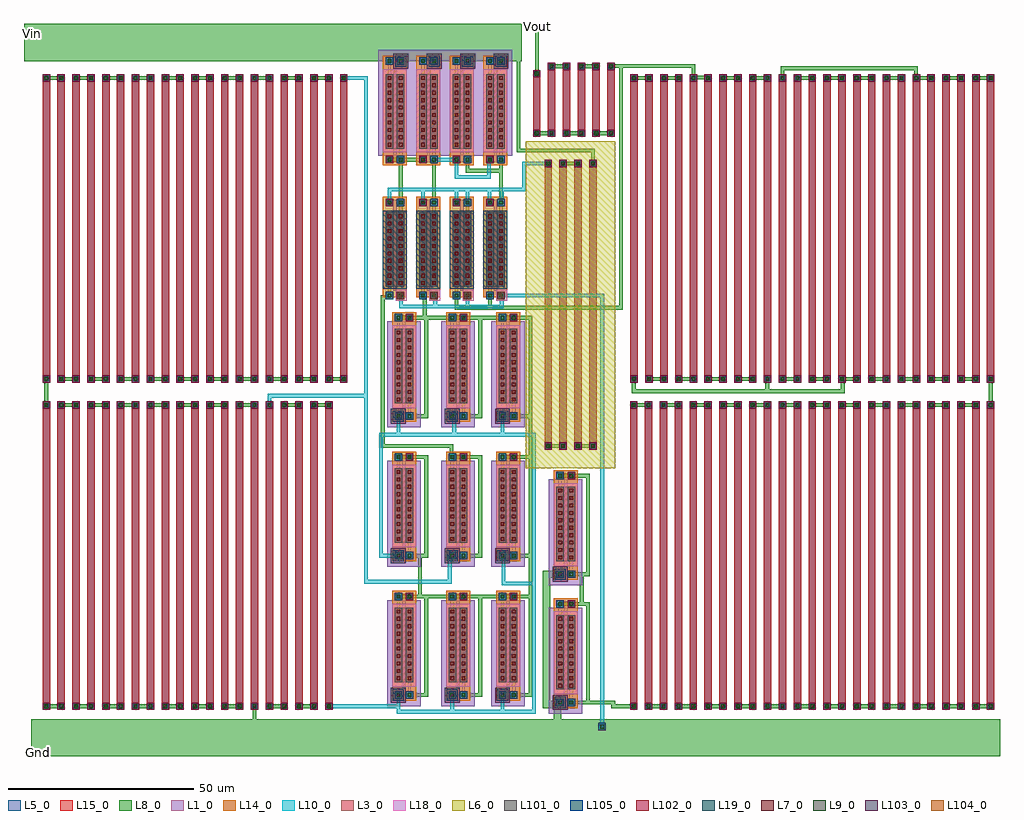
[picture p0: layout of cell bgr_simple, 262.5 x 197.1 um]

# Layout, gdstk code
from math import pi, radians
import gdstk
lib = gdstk.Library(unit=1e-6, precision=1e-09)
def R(c, l, rs):  # rectangles x0, y0, x1, y1
    for r in rs: c.add(gdstk.rectangle(r[:2], r[2:], *l))
def A(c, l, x, y, w, h, nx, ny, dx, dy):  # array of equal rectangles
    R(c, l, [(x+i*dx, y+j*dy, x+i*dx+w, y+j*dy+h) for i in range(nx) for j in range(ny)])
L1_0 = (1, 0)
L3_0 = (3, 0)
L5_0 = (5, 0)
L6_0 = (6, 0)
L7_0 = (7, 0)
L8_0 = (8, 0)
L9_0 = (9, 0)
L10_0 = (10, 0)
L14_0 = (14, 0)
L15_0 = (15, 0)
L18_0 = (18, 0)
L19_0 = (19, 0)
L101_0 = (101, 0)
L102_0 = (102, 0)
L103_0 = (103, 0)
L104_0 = (104, 0)
L105_0 = (105, 0)

dcont = lib.new_cell('dcont')
R(dcont, L3_0, [(-0.5,-0.5,0.5,0.5)])
R(dcont, L7_0, [(-0.5,-0.5,0.5,0.5)])
R(dcont, L8_0, [(-1,-1,1,1)])
R(dcont, L101_0, [(-1,-1,1,1)])
dcont.add(gdstk.Label('dcont', (0,0), layer=13, texttype=0))

via = lib.new_cell('Via')
R(via, L8_0, [(-1,-1,1,1)])
R(via, L9_0, [(-0.5,-0.5,0.5,0.5)])
R(via, L10_0, [(-1,-1,1,1)])
R(via, L105_0, [(-1,-1,1,1)])
via.add(gdstk.Label('via', (0,0), layer=13, texttype=0))

nsubcont = lib.new_cell('nsubcont')
R(nsubcont, L1_0, [(-2,-2,2,2)])
R(nsubcont, L19_0, [(-1.5,-1.5,1.5,1.5)])
R(nsubcont, L103_0, [(-2,-2,2,2)])
nsubcont.add(gdstk.Reference(dcont, (0,0)))
nsubcont.add(gdstk.Label('NScont', (0,0), layer=13, texttype=0))

pcont = lib.new_cell('pcont')
R(pcont, L5_0, [(-1,-1,1,1)])
R(pcont, L7_0, [(-0.5,-0.5,0.5,0.5)])
R(pcont, L8_0, [(-1,-1,1,1)])
R(pcont, L102_0, [(-1,-1,1,1)])
pcont.add(gdstk.Label('pcont', (0,0), layer=13, texttype=0))

pch1x20 = lib.new_cell('pch1x20')
R(pch1x20, L1_0, [(-1.2,3,7.8,31.5)])
R(pch1x20, L3_0, [(0.8,5,5.8,25)])
R(pch1x20, L5_0, [(1.3,1.3,3.8,2.7)])
R(pch1x20, L8_0, [(0.8,1,2.8,3), (3.8,1,5.8,3)])
R(pch1x20, L10_0, [(0.8,1,2.8,3), (3.8,1,5.8,3)])
R(pch1x20, L14_0, [(0,0.5,6.5,30)])
R(pch1x20, L18_0, [(0,4,6.5,26.3)])
R(pch1x20, L105_0, [(0.8,1,2.8,3), (3.8,1,5.8,3)])
pch1x20.add(gdstk.FlexPath([(1.8,29),(1.8,23.8)], 1, ends="extended", simple_path=True, layer=8, datatype=0))  # L8_0
pch1x20.add(gdstk.FlexPath([(1.8,5.8),(1.8,24)], 1.4, ends="extended", simple_path=True, layer=8, datatype=0))  # L8_0
pch1x20.add(gdstk.FlexPath([(4.8,5.8),(4.8,24)], 1.4, ends="extended", simple_path=True, layer=8, datatype=0))  # L8_0
pch1x20.add(gdstk.FlexPath([(4.8,5.5),(4.8,2.3)], 1, ends="extended", simple_path=True, layer=8, datatype=0))  # L8_0
pch1x20.add(gdstk.FlexPath([(3.3,26),(3.3,2.8)], 1, ends="extended", simple_path=True, layer=5, datatype=0))  # L5_0
pch1x20.add(gdstk.Reference(dcont, (1.8,6)))
pch1x20.add(gdstk.Reference(dcont, (1.8,8)))
pch1x20.add(gdstk.Reference(dcont, (4.8,12)))
pch1x20.add(gdstk.Reference(dcont, (4.8,10)))
pch1x20.add(gdstk.Reference(dcont, (1.8,14)))
pch1x20.add(gdstk.Reference(dcont, (1.8,16)))
pch1x20.add(gdstk.Reference(dcont, (4.8,20)))
pch1x20.add(gdstk.Reference(dcont, (4.8,18)))
pch1x20.add(gdstk.Reference(via, (1.8,28.5)))
pch1x20.add(gdstk.Reference(dcont, (4.8,22)))
pch1x20.add(gdstk.Reference(via, (4.8,2)))
pch1x20.add(gdstk.Reference(dcont, (1.8,24)))
pch1x20.add(gdstk.Reference(dcont, (4.8,24)))
pch1x20.add(gdstk.Reference(dcont, (1.8,22)))
pch1x20.add(gdstk.Reference(via, (1.8,2)))
pch1x20.add(gdstk.Reference(nsubcont, (4.8,28.5)))
pch1x20.add(gdstk.Reference(pcont, (1.8,2)))
pch1x20.add(gdstk.Reference(dcont, (1.8,20)))
pch1x20.add(gdstk.Reference(dcont, (1.8,18)))
pch1x20.add(gdstk.Reference(dcont, (4.8,14)))
pch1x20.add(gdstk.Reference(dcont, (4.8,16)))
pch1x20.add(gdstk.Reference(dcont, (1.8,12)))
pch1x20.add(gdstk.Reference(dcont, (1.8,10)))
pch1x20.add(gdstk.Reference(dcont, (4.8,6)))
pch1x20.add(gdstk.Reference(dcont, (4.8,8)))
pch1x20.add(gdstk.Reference(via, (4.8,28.5)))
pch1x20.add(gdstk.Label('A', (8.5,7.4), layer=13, texttype=0))
pch1x20.add(gdstk.Label('VDD', (0.3,27.5), layer=13, texttype=0))
pch1x20.add(gdstk.Label('YB', (4.4,11.7), layer=13, texttype=0))
pch1x20.add(gdstk.Label('via', (5,1.8), layer=13, texttype=0))
pch1x20.add(gdstk.Label('via', (2,2), layer=13, texttype=0))

psubcont = lib.new_cell('psubcont')
R(psubcont, L104_0, [(-1,-1,1,1)])
psubcont.add(gdstk.Reference(dcont, (0,0)))
psubcont.add(gdstk.Label('PScon', (0,0), layer=13, texttype=0))

nch1x20 = lib.new_cell('nch1x20')
R(nch1x20, L3_0, [(0.8,2.8,5.8,22.8)])
R(nch1x20, L5_0, [(1.3,24.8,3.8,26.2)])
R(nch1x20, L14_0, [(0,0,6.5,27)])
R(nch1x20, L18_0, [(3.5,-1,6.5,2)])
R(nch1x20, L19_0, [(0,2.3,6.5,23.3)])
nch1x20.add(gdstk.FlexPath([(1.8,0.5),(1.8,22.3)], 1, ends="extended", simple_path=True, layer=8, datatype=0))  # L8_0
nch1x20.add(gdstk.FlexPath([(4.8,25),(4.8,3.3)], 1, ends="extended", simple_path=True, layer=8, datatype=0))  # L8_0
nch1x20.add(gdstk.FlexPath([(3.3,25),(3.3,2.3)], 1, ends="extended", simple_path=True, layer=5, datatype=0))  # L5_0
nch1x20.add(gdstk.Reference(dcont, (4.8,21.8)))
nch1x20.add(gdstk.Reference(dcont, (1.8,19.8)))
nch1x20.add(gdstk.Reference(dcont, (4.8,17.8)))
nch1x20.add(gdstk.Reference(dcont, (1.8,15.8)))
nch1x20.add(gdstk.Reference(dcont, (4.8,13.8)))
nch1x20.add(gdstk.Reference(dcont, (1.8,11.8)))
nch1x20.add(gdstk.Reference(dcont, (4.8,9.8)))
nch1x20.add(gdstk.Reference(dcont, (1.8,7.8)))
nch1x20.add(gdstk.Reference(dcont, (4.8,5.8)))
nch1x20.add(gdstk.Reference(via, (1.8,25.5)))
nch1x20.add(gdstk.Reference(dcont, (4.8,3.8)))
nch1x20.add(gdstk.Reference(dcont, (1.8,3.8)))
nch1x20.add(gdstk.Reference(dcont, (1.8,5.8)))
nch1x20.add(gdstk.Reference(dcont, (4.8,7.8)))
nch1x20.add(gdstk.Reference(dcont, (1.8,9.8)))
nch1x20.add(gdstk.Reference(dcont, (4.8,11.8)))
nch1x20.add(gdstk.Reference(dcont, (1.8,13.8)))
nch1x20.add(gdstk.Reference(dcont, (4.8,15.8)))
nch1x20.add(gdstk.Reference(dcont, (1.8,17.8)))
nch1x20.add(gdstk.Reference(dcont, (4.8,19.8)))
nch1x20.add(gdstk.Reference(dcont, (1.8,21.8)))
nch1x20.add(gdstk.Reference(via, (1.8,0.5)))
nch1x20.add(gdstk.Reference(via, (4.8,25.5)))
nch1x20.add(gdstk.Reference(pcont, (1.8,25.5)))
nch1x20.add(gdstk.Reference(via, (4.8,0.5)))
nch1x20.add(gdstk.Reference(psubcont, (4.8,0.5)))
nch1x20.add(gdstk.Label('via', (5,25.3), layer=13, texttype=0))
nch1x20.add(gdstk.Label('A', (2,26.4), layer=13, texttype=0))
nch1x20.add(gdstk.Label('VSS', (0.3,0.5), layer=13, texttype=0))
nch1x20.add(gdstk.Label('via', (2,25.5), layer=13, texttype=0))

pchdiode = lib.new_cell('pchdiode')
pchdiode.add(gdstk.FlexPath([(3.4,29.5),(-0.7,29.5),(-0.7,3),(6.3,3)], 1, ends="extended", simple_path=True, layer=8, datatype=0))  # L8_0
pchdiode.add(gdstk.Reference(pch1x20, (2,1)))

diodeblock = lib.new_cell('diodeblock')
diodeblock.add(gdstk.FlexPath([(32.5,7),(-3.2,7),(-3.2,-68),(26.5,-68)], 1, ends="flush", simple_path=True, layer=8, datatype=0))  # L8_0
diodeblock.add(gdstk.FlexPath([(26.5,7.5),(26.5,-4),(26.5,-4)], 1, ends="flush", simple_path=True, layer=8, datatype=0))  # L8_0
diodeblock.add(gdstk.FlexPath([(32.3,-36.5),(37,-36.5),(37,-4),(32,-4)], 1, ends="flush", simple_path=True, layer=10, datatype=0))  # L10_0
diodeblock.add(gdstk.FlexPath([(4,3.5),(4,-4)], 1, ends="flush", simple_path=True, layer=10, datatype=0))  # L10_0
diodeblock.add(gdstk.FlexPath([(4.3,33.3),(4.3,38),(17.8,38),(17.8,33.5)], 1, ends="flush", simple_path=True, layer=10, datatype=0))  # L10_0
diodeblock.add(gdstk.FlexPath([(18.3,38),(32.3,38),(32.3,33.4)], 1, ends="flush", simple_path=True, layer=10, datatype=0))  # L10_0
diodeblock.add(gdstk.FlexPath([(32.8,38),(-4.2,38),(-4.2,3.5),(4.5,3.5)], 1, ends="flush", simple_path=True, layer=10, datatype=0))  # L10_0
diodeblock.add(gdstk.FlexPath([(-4.2,4),(-4.2,-36.5),(31.8,-36.5)], 1, ends="flush", simple_path=True, layer=10, datatype=0))  # L10_0
diodeblock.add(gdstk.FlexPath([(4.3,-41.5),(4.3,-36.5),(17.3,-36.5),(17.3,-41.5)], 1, ends="flush", simple_path=True, layer=10, datatype=0))  # L10_0
diodeblock.add(gdstk.FlexPath([(17.8,-36.5),(32.3,-36.5),(32.3,-41.6)], 1, ends="flush", simple_path=True, layer=10, datatype=0))  # L10_0
diodeblock.add(gdstk.Reference(pchdiode, (-2.5,4)))
diodeblock.add(gdstk.Reference(pchdiode, (11,4)))
diodeblock.add(gdstk.Reference(pchdiode, (25.5,4)))
diodeblock.add(gdstk.Reference(pchdiode, (-2.5,-33.5)))
diodeblock.add(gdstk.Reference(pchdiode, (11,-33.5)))
diodeblock.add(gdstk.Reference(pchdiode, (25.5,-33.5)))
diodeblock.add(gdstk.Reference(pchdiode, (-2.5,-71)))
diodeblock.add(gdstk.Reference(pchdiode, (11,-71)))
diodeblock.add(gdstk.Reference(pchdiode, (25.5,-71)))

via_4 = lib.new_cell('Via$4')
R(via_4, L8_0, [(-1,-1,1,1)])
R(via_4, L9_0, [(-0.5,-0.5,0.5,0.5)])
R(via_4, L10_0, [(-1,-1,1,1)])
R(via_4, L105_0, [(-1,-1,1,1)])
via_4.add(gdstk.Label('via', (0,0), layer=13, texttype=0))

pcont_4 = lib.new_cell('pcont$4')
R(pcont_4, L5_0, [(-1,-1,1,1)])
R(pcont_4, L7_0, [(-0.5,-0.5,0.5,0.5)])
R(pcont_4, L8_0, [(-1,-1,1,1)])
R(pcont_4, L102_0, [(-1,-1,1,1)])
pcont_4.add(gdstk.Label('pcont', (0,0), layer=13, texttype=0))

r_poly_5 = lib.new_cell('R_poly$5')
A(r_poly_5, L8_0, 0, 0, 2, 2, 5, 2, 4, 81)
A(r_poly_5, L10_0, 0, 0, 2, 2, 5, 2, 4, 81)
r_poly_5.add(gdstk.FlexPath([(5,82),(1,82)], 1, ends="extended", simple_path=True, layer=8, datatype=0))  # L8_0
r_poly_5.add(gdstk.FlexPath([(9,1),(5,1)], 1, ends="extended", simple_path=True, layer=8, datatype=0))  # L8_0
r_poly_5.add(gdstk.FlexPath([(13,82),(9,82)], 1, ends="extended", simple_path=True, layer=8, datatype=0))  # L8_0
r_poly_5.add(gdstk.FlexPath([(17,1),(13,1)], 1, ends="extended", simple_path=True, layer=8, datatype=0))  # L8_0
r_poly_5.add(gdstk.FlexPath([(1,2),(1,81)], 2, ends=(2, 2), simple_path=True, layer=5, datatype=0))  # L5_0
r_poly_5.add(gdstk.FlexPath([(5,2),(5,81)], 2, ends=(2, 2), simple_path=True, layer=5, datatype=0))  # L5_0
r_poly_5.add(gdstk.FlexPath([(9,2),(9,81)], 2, ends=(2, 2), simple_path=True, layer=5, datatype=0))  # L5_0
r_poly_5.add(gdstk.FlexPath([(13,2),(13,81)], 2, ends=(2, 2), simple_path=True, layer=5, datatype=0))  # L5_0
r_poly_5.add(gdstk.FlexPath([(17,2),(17,81)], 2, ends=(2, 2), simple_path=True, layer=5, datatype=0))  # L5_0
r_poly_5.add(gdstk.FlexPath([(1,2),(1,81)], 2, ends=(0.5, 0.5), simple_path=True, layer=15, datatype=0))  # L15_0
r_poly_5.add(gdstk.FlexPath([(5,2),(5,81)], 2, ends=(0.5, 0.5), simple_path=True, layer=15, datatype=0))  # L15_0
r_poly_5.add(gdstk.FlexPath([(9,2),(9,81)], 2, ends=(0.5, 0.5), simple_path=True, layer=15, datatype=0))  # L15_0
r_poly_5.add(gdstk.FlexPath([(13,2),(13,81)], 2, ends=(0.5, 0.5), simple_path=True, layer=15, datatype=0))  # L15_0
r_poly_5.add(gdstk.FlexPath([(17,2),(17,81)], 2, ends=(0.5, 0.5), simple_path=True, layer=15, datatype=0))  # L15_0
r_poly_5.add(gdstk.Reference(via_4, (1,1)))
r_poly_5.add(gdstk.Reference(pcont_4, (1,1)))
r_poly_5.add(gdstk.Reference(via_4, (1,82)))
r_poly_5.add(gdstk.Reference(pcont_4, (1,82)))
r_poly_5.add(gdstk.Reference(via_4, (5,1)))
r_poly_5.add(gdstk.Reference(pcont_4, (5,1)))
r_poly_5.add(gdstk.Reference(via_4, (5,82)))
r_poly_5.add(gdstk.Reference(pcont_4, (5,82)))
r_poly_5.add(gdstk.Reference(via_4, (9,1)))
r_poly_5.add(gdstk.Reference(pcont_4, (9,1)))
r_poly_5.add(gdstk.Reference(via_4, (9,82)))
r_poly_5.add(gdstk.Reference(pcont_4, (9,82)))
r_poly_5.add(gdstk.Reference(via_4, (13,1)))
r_poly_5.add(gdstk.Reference(pcont_4, (13,1)))
r_poly_5.add(gdstk.Reference(via_4, (13,82)))
r_poly_5.add(gdstk.Reference(pcont_4, (13,82)))
r_poly_5.add(gdstk.Reference(via_4, (17,1)))
r_poly_5.add(gdstk.Reference(pcont_4, (17,1)))
r_poly_5.add(gdstk.Reference(via_4, (17,82)))
r_poly_5.add(gdstk.Reference(pcont_4, (17,82)))

r_poly = lib.new_cell('R_poly')
R(r_poly, L8_0, [(0,0,2,2), (0,81,2,83)])
R(r_poly, L10_0, [(0,0,2,2), (0,81,2,83)])
r_poly.add(gdstk.FlexPath([(1,2),(1,81)], 2, ends=(2, 2), simple_path=True, layer=5, datatype=0))  # L5_0
r_poly.add(gdstk.FlexPath([(1,2),(1,81)], 2, ends=(0.5, 0.5), simple_path=True, layer=15, datatype=0))  # L15_0
r_poly.add(gdstk.Reference(via_4, (1,1)))
r_poly.add(gdstk.Reference(pcont_4, (1,1)))
r_poly.add(gdstk.Reference(via_4, (1,82)))
r_poly.add(gdstk.Reference(pcont_4, (1,82)))

hr_poly = lib.new_cell('HR_poly')
R(hr_poly, L6_0, [(-5,-5,19,83)])
A(hr_poly, L8_0, 0, 0, 2, 2, 4, 2, 4, 76)
A(hr_poly, L10_0, 0, 0, 2, 2, 4, 2, 4, 76)
hr_poly.add(gdstk.FlexPath([(5,77),(1,77)], 1, ends="extended", simple_path=True, layer=8, datatype=0))  # L8_0
hr_poly.add(gdstk.FlexPath([(9,1),(5,1)], 1, ends="extended", simple_path=True, layer=8, datatype=0))  # L8_0
hr_poly.add(gdstk.FlexPath([(13,77),(9,77)], 1, ends="extended", simple_path=True, layer=8, datatype=0))  # L8_0
hr_poly.add(gdstk.FlexPath([(1,2),(1,76)], 2, ends=(2, 2), simple_path=True, layer=5, datatype=0))  # L5_0
hr_poly.add(gdstk.FlexPath([(5,2),(5,76)], 2, ends=(2, 2), simple_path=True, layer=5, datatype=0))  # L5_0
hr_poly.add(gdstk.FlexPath([(9,2),(9,76)], 2, ends=(2, 2), simple_path=True, layer=5, datatype=0))  # L5_0
hr_poly.add(gdstk.FlexPath([(13,2),(13,76)], 2, ends=(2, 2), simple_path=True, layer=5, datatype=0))  # L5_0
hr_poly.add(gdstk.FlexPath([(1,2),(1,76)], 2, ends=(0.5, 0.5), simple_path=True, layer=15, datatype=0))  # L15_0
hr_poly.add(gdstk.FlexPath([(5,2),(5,76)], 2, ends=(0.5, 0.5), simple_path=True, layer=15, datatype=0))  # L15_0
hr_poly.add(gdstk.FlexPath([(9,2),(9,76)], 2, ends=(0.5, 0.5), simple_path=True, layer=15, datatype=0))  # L15_0
hr_poly.add(gdstk.FlexPath([(13,2),(13,76)], 2, ends=(0.5, 0.5), simple_path=True, layer=15, datatype=0))  # L15_0
hr_poly.add(gdstk.Reference(via_4, (1,1)))
hr_poly.add(gdstk.Reference(pcont_4, (1,1)))
hr_poly.add(gdstk.Reference(via_4, (1,77)))
hr_poly.add(gdstk.Reference(pcont_4, (1,77)))
hr_poly.add(gdstk.Reference(via_4, (5,1)))
hr_poly.add(gdstk.Reference(pcont_4, (5,1)))
hr_poly.add(gdstk.Reference(via_4, (5,77)))
hr_poly.add(gdstk.Reference(pcont_4, (5,77)))
hr_poly.add(gdstk.Reference(via_4, (9,1)))
hr_poly.add(gdstk.Reference(pcont_4, (9,1)))
hr_poly.add(gdstk.Reference(via_4, (9,77)))
hr_poly.add(gdstk.Reference(pcont_4, (9,77)))
hr_poly.add(gdstk.Reference(via_4, (13,1)))
hr_poly.add(gdstk.Reference(pcont_4, (13,1)))
hr_poly.add(gdstk.Reference(via_4, (13,77)))
hr_poly.add(gdstk.Reference(pcont_4, (13,77)))

r_poly_1 = lib.new_cell('R_poly$1')
A(r_poly_1, L8_0, 0, 0, 2, 2, 5, 1, 4, 0)
A(r_poly_1, L8_0, 0, 18, 2, 2, 6, 1, 4, 0)
R(r_poly_1, L8_0, [(20,2,22,4)])
A(r_poly_1, L10_0, 0, 0, 2, 2, 5, 1, 4, 0)
A(r_poly_1, L10_0, 0, 18, 2, 2, 6, 1, 4, 0)
R(r_poly_1, L10_0, [(20,2,22,4)])
r_poly_1.add(gdstk.FlexPath([(5,19),(1,19)], 1, ends="extended", simple_path=True, layer=8, datatype=0))  # L8_0
r_poly_1.add(gdstk.FlexPath([(9,1),(5,1)], 1, ends="extended", simple_path=True, layer=8, datatype=0))  # L8_0
r_poly_1.add(gdstk.FlexPath([(13,19),(9,19)], 1, ends="extended", simple_path=True, layer=8, datatype=0))  # L8_0
r_poly_1.add(gdstk.FlexPath([(17,1),(13,1)], 1, ends="extended", simple_path=True, layer=8, datatype=0))  # L8_0
r_poly_1.add(gdstk.FlexPath([(21,19),(17,19)], 1, ends="extended", simple_path=True, layer=8, datatype=0))  # L8_0
r_poly_1.add(gdstk.FlexPath([(1,2),(1,18)], 2, ends=(2, 2), simple_path=True, layer=5, datatype=0))  # L5_0
r_poly_1.add(gdstk.FlexPath([(5,2),(5,18)], 2, ends=(2, 2), simple_path=True, layer=5, datatype=0))  # L5_0
r_poly_1.add(gdstk.FlexPath([(9,2),(9,18)], 2, ends=(2, 2), simple_path=True, layer=5, datatype=0))  # L5_0
r_poly_1.add(gdstk.FlexPath([(13,2),(13,18)], 2, ends=(2, 2), simple_path=True, layer=5, datatype=0))  # L5_0
r_poly_1.add(gdstk.FlexPath([(17,2),(17,18)], 2, ends=(2, 2), simple_path=True, layer=5, datatype=0))  # L5_0
r_poly_1.add(gdstk.FlexPath([(21,4),(21,18)], 2, ends=(2, 2), simple_path=True, layer=5, datatype=0))  # L5_0
r_poly_1.add(gdstk.FlexPath([(1,2),(1,18)], 2, ends=(0.5, 0.5), simple_path=True, layer=15, datatype=0))  # L15_0
r_poly_1.add(gdstk.FlexPath([(5,2),(5,18)], 2, ends=(0.5, 0.5), simple_path=True, layer=15, datatype=0))  # L15_0
r_poly_1.add(gdstk.FlexPath([(9,2),(9,18)], 2, ends=(0.5, 0.5), simple_path=True, layer=15, datatype=0))  # L15_0
r_poly_1.add(gdstk.FlexPath([(13,2),(13,18)], 2, ends=(0.5, 0.5), simple_path=True, layer=15, datatype=0))  # L15_0
r_poly_1.add(gdstk.FlexPath([(17,2),(17,18)], 2, ends=(0.5, 0.5), simple_path=True, layer=15, datatype=0))  # L15_0
r_poly_1.add(gdstk.FlexPath([(21,4),(21,18)], 2, ends=(0.5, 0.5), simple_path=True, layer=15, datatype=0))  # L15_0
r_poly_1.add(gdstk.Reference(via_4, (1,1)))
r_poly_1.add(gdstk.Reference(pcont_4, (1,1)))
r_poly_1.add(gdstk.Reference(via_4, (1,19)))
r_poly_1.add(gdstk.Reference(pcont_4, (1,19)))
r_poly_1.add(gdstk.Reference(via_4, (5,1)))
r_poly_1.add(gdstk.Reference(pcont_4, (5,1)))
r_poly_1.add(gdstk.Reference(via_4, (5,19)))
r_poly_1.add(gdstk.Reference(pcont_4, (5,19)))
r_poly_1.add(gdstk.Reference(via_4, (9,1)))
r_poly_1.add(gdstk.Reference(pcont_4, (9,1)))
r_poly_1.add(gdstk.Reference(via_4, (9,19)))
r_poly_1.add(gdstk.Reference(pcont_4, (9,19)))
r_poly_1.add(gdstk.Reference(via_4, (13,1)))
r_poly_1.add(gdstk.Reference(pcont_4, (13,1)))
r_poly_1.add(gdstk.Reference(via_4, (13,19)))
r_poly_1.add(gdstk.Reference(pcont_4, (13,19)))
r_poly_1.add(gdstk.Reference(via_4, (17,1)))
r_poly_1.add(gdstk.Reference(pcont_4, (17,1)))
r_poly_1.add(gdstk.Reference(via_4, (17,19)))
r_poly_1.add(gdstk.Reference(pcont_4, (17,19)))
r_poly_1.add(gdstk.Reference(via_4, (21,3)))
r_poly_1.add(gdstk.Reference(pcont_4, (21,3)))
r_poly_1.add(gdstk.Reference(via_4, (21,19)))
r_poly_1.add(gdstk.Reference(pcont_4, (21,19)))

bgr_simple = lib.new_cell('bgr_simple')
bgr_simple.add(gdstk.FlexPath([(7.8,-41),(7.8,-52.5),(7.8,-52.5)], 1, ends="flush", simple_path=True, layer=8, datatype=0))  # L8_0
bgr_simple.add(gdstk.FlexPath([(16.8,-41),(16.8,-52.5),(16.8,-52.5)], 1, ends="flush", simple_path=True, layer=8, datatype=0))  # L8_0
bgr_simple.add(gdstk.FlexPath([(34.8,-44.5),(34.8,-52.5),(34.8,-52.5)], 1, ends="flush", simple_path=True, layer=8, datatype=0))  # L8_0
bgr_simple.add(gdstk.FlexPath([(25.8,-41),(25.8,-44),(34.8,-44),(34.8,-41),(34.8,-41)], 1, ends="flush", simple_path=True, layer=8, datatype=0))  # L8_0
bgr_simple.add(gdstk.FlexPath([(22.8,-77.3),(22.8,-80.8),(31.8,-80.8),(31.8,-77.6)], 1, ends="flush", simple_path=True, layer=8, datatype=0))  # L8_0
bgr_simple.add(gdstk.FlexPath([(50.7,-152.5),(47,-152.5),(47,-187.5),(50,-187.5),(50,-192.5)], 2, ends="flush", simple_path=True, layer=8, datatype=0))  # L8_0
bgr_simple.add(gdstk.FlexPath([(14.3,-78),(14.3,-83.5),(14.3,-83.5)], 1, ends="flush", simple_path=True, layer=8, datatype=0))  # L8_0
bgr_simple.add(gdstk.FlexPath([(-93.5,-9.5),(40.4,-9.5)], 10, ends="flush", simple_path=True, layer=8, datatype=0))  # L8_0
bgr_simple.add(gdstk.FlexPath([(86.6,-19.1),(86.6,-15.8),(64.4,-15.8),(64.4,-15.9)], 1, ends="flush", simple_path=True, layer=8, datatype=0))  # L8_0
bgr_simple.add(gdstk.FlexPath([(44.5,-17.8),(44.5,-4.4)], 1, ends="flush", simple_path=True, layer=8, datatype=0))  # L8_0
bgr_simple.add(gdstk.FlexPath([(31.9,-80.8),(67.1,-80.8),(67.1,-15.5)], 1, ends="flush", simple_path=True, layer=8, datatype=0))  # L8_0
bgr_simple.add(gdstk.FlexPath([(151,-19),(146,-19)], 1, ends="flush", simple_path=True, layer=8, datatype=0))  # L8_0
bgr_simple.add(gdstk.FlexPath([(130.5,-100),(126.5,-100)], 1, ends="flush", simple_path=True, layer=8, datatype=0))  # L8_0
bgr_simple.add(gdstk.FlexPath([(90.6,-18.9),(86.6,-18.9)], 1, ends="flush", simple_path=True, layer=8, datatype=0))  # L8_0
bgr_simple.add(gdstk.FlexPath([(70.5,-100.1),(70.5,-103.3),(106.4,-103.3),(106.4,-100)], 1, ends="flush", simple_path=True, layer=8, datatype=0))  # L8_0
bgr_simple.add(gdstk.FlexPath([(110.5,-18.8),(110.5,-16.4),(146.4,-16.4),(146.4,-19)], 1, ends="flush", simple_path=True, layer=8, datatype=0))  # L8_0
bgr_simple.add(gdstk.FlexPath([(106.2,-103.3),(126.7,-103.3),(126.7,-99.5)], 1, ends="flush", simple_path=True, layer=8, datatype=0))  # L8_0
bgr_simple.add(gdstk.FlexPath([(-71.5,-19),(-67.5,-19)], 1, ends="flush", simple_path=True, layer=8, datatype=0))  # L8_0
bgr_simple.add(gdstk.FlexPath([(59.5,-42),(59.5,-38.5),(39.5,-38.5),(39.5,-11),(39.5,-11)], 1, ends="flush", simple_path=True, layer=8, datatype=0))  # L8_0
bgr_simple.add(gdstk.FlexPath([(56,-187),(65,-187),(65,-188),(70.5,-188)], 1, ends="flush", simple_path=True, layer=8, datatype=0))  # L8_0
bgr_simple.add(gdstk.FlexPath([(86.5,-107),(91,-107)], 1, ends="flush", simple_path=True, layer=8, datatype=0))  # L8_0
bgr_simple.add(gdstk.FlexPath([(106.5,-188),(110.5,-188)], 1, ends="flush", simple_path=True, layer=8, datatype=0))  # L8_0
bgr_simple.add(gdstk.FlexPath([(126.5,-107),(130.5,-107)], 1, ends="flush", simple_path=True, layer=8, datatype=0))  # L8_0
bgr_simple.add(gdstk.FlexPath([(146.5,-188),(150.5,-188)], 1, ends="flush", simple_path=True, layer=8, datatype=0))  # L8_0
bgr_simple.add(gdstk.FlexPath([(166.5,-100),(166.5,-107)], 1, ends="flush", simple_path=True, layer=8, datatype=0))  # L8_0
bgr_simple.add(gdstk.FlexPath([(-91.5,-196.5),(169,-196.5)], 10, ends="flush", simple_path=True, layer=8, datatype=0))  # L8_0
bgr_simple.add(gdstk.FlexPath([(5,-41),(14,-41)], 1, ends="flush", simple_path=True, layer=8, datatype=0))  # L8_0
bgr_simple.add(gdstk.FlexPath([(4.5,-78),(3,-78),(3,-118),(21.5,-118),(21.5,-121),(21.5,-121)], 1, ends="flush", simple_path=True, layer=8, datatype=0))  # L8_0
bgr_simple.add(gdstk.FlexPath([(56.5,-152.5),(56.5,-160.5),(56.5,-160.5)], 1, ends="flush", simple_path=True, layer=8, datatype=0))  # L8_0
bgr_simple.add(gdstk.FlexPath([(-7.5,-100),(-11.5,-100),(-11.5,-100)], 1, ends="flush", simple_path=True, layer=8, datatype=0))  # L8_0
bgr_simple.add(gdstk.FlexPath([(-27.5,-19),(-31.5,-19),(-31.5,-19)], 1, ends="flush", simple_path=True, layer=8, datatype=0))  # L8_0
bgr_simple.add(gdstk.FlexPath([(-47.5,-100),(-51.5,-100)], 1, ends="flush", simple_path=True, layer=8, datatype=0))  # L8_0
bgr_simple.add(gdstk.FlexPath([(-87.5,-100),(-87.5,-107)], 1, ends="flush", simple_path=True, layer=8, datatype=0))  # L8_0
bgr_simple.add(gdstk.FlexPath([(-71.5,-188),(-67,-188)], 1, ends="flush", simple_path=True, layer=8, datatype=0))  # L8_0
bgr_simple.add(gdstk.FlexPath([(-51.5,-107),(-47,-107)], 1, ends="flush", simple_path=True, layer=8, datatype=0))  # L8_0
bgr_simple.add(gdstk.FlexPath([(-31.5,-188),(-31.5,-193)], 1, ends="flush", simple_path=True, layer=8, datatype=0))  # L8_0
bgr_simple.add(gdstk.FlexPath([(31.6,-41.1),(31.6,-45.7),(22.8,-45.7),(22.8,-41.2)], 1, ends="flush", simple_path=True, layer=10, datatype=0))  # L10_0
bgr_simple.add(gdstk.FlexPath([(4.8,-52.5),(4.8,-49),(13.8,-49),(13.8,-52.5)], 1, ends="flush", simple_path=True, layer=10, datatype=0))  # L10_0
bgr_simple.add(gdstk.FlexPath([(13.8,-49),(22.8,-49),(22.8,-52.5)], 1, ends="flush", simple_path=True, layer=10, datatype=0))  # L10_0
bgr_simple.add(gdstk.FlexPath([(25.8,-52.1),(25.8,-49.1),(25.8,-49)], 1, ends="flush", simple_path=True, layer=10, datatype=0))  # L10_0
bgr_simple.add(gdstk.FlexPath([(22.7,-49),(31.7,-49),(31.7,-52.5),(31.7,-52.5)], 1, ends="flush", simple_path=True, layer=10, datatype=0))  # L10_0
bgr_simple.add(gdstk.FlexPath([(17.1,-80.5),(25.8,-80.5),(25.8,-78)], 1, ends="flush", simple_path=True, layer=10, datatype=0))  # L10_0
bgr_simple.add(gdstk.FlexPath([(-11.5,-188),(7.2,-188)], 1, ends="flush", simple_path=True, layer=10, datatype=0))  # L10_0
bgr_simple.add(gdstk.FlexPath([(7.9,-77.8),(7.9,-80.5),(17.1,-80.5),(17.1,-78)], 1, ends="flush", simple_path=True, layer=10, datatype=0))  # L10_0
bgr_simple.add(gdstk.FlexPath([(25.9,-80.5),(35,-80.5),(35,-78)], 1, ends="flush", simple_path=True, layer=10, datatype=0))  # L10_0
bgr_simple.add(gdstk.FlexPath([(34.5,-49),(41,-49),(41,-42),(47.6,-42)], 1, ends="flush", simple_path=True, layer=10, datatype=0))  # L10_0
bgr_simple.add(gdstk.FlexPath([(31.9,-49),(35,-49),(35,-52.5)], 1, ends="flush", simple_path=True, layer=10, datatype=0))  # L10_0
bgr_simple.add(gdstk.FlexPath([(35,-77.5),(62,-77.5),(62,-194.5)], 1, ends="flush", simple_path=True, layer=10, datatype=0))  # L10_0
bgr_simple.add(gdstk.FlexPath([(17,-41),(23,-41)], 1, ends="flush", simple_path=True, layer=10, datatype=0))  # L10_0
bgr_simple.add(gdstk.FlexPath([(21,-147.5),(21,-154.5),(-1.5,-154.5),(-1.5,-19),(-8,-19)], 1, ends="flush", simple_path=True, layer=10, datatype=0))  # L10_0
bgr_simple.add(gdstk.FlexPath([(-27.5,-106.5),(-27.5,-104.5),(-1.5,-104.5),(-1.5,-104.5)], 1, ends="flush", simple_path=True, layer=10, datatype=0))  # L10_0
bgr_simple.add(gdstk.Reference(pch1x20, (12,-43)))
bgr_simple.add(gdstk.Reference(pch1x20, (21,-43)))
bgr_simple.add(gdstk.Reference(pch1x20, (30,-43)))
bgr_simple.add(gdstk.Reference(pch1x20, (3,-43)))
bgr_simple.add(gdstk.Reference(nch1x20, (3,-78)))
bgr_simple.add(gdstk.Reference(nch1x20, (12,-78)))
bgr_simple.add(gdstk.Reference(nch1x20, (30,-78)))
bgr_simple.add(gdstk.Reference(diodeblock, (39.5,-151.5), rotation=pi))
bgr_simple.add(gdstk.Reference(r_poly_5, (107.5,-189), rotation=pi, x_reflection=True))
bgr_simple.add(gdstk.Reference(r_poly_5, (109.5,-189)))
bgr_simple.add(gdstk.Reference(r_poly_5, (147.5,-189), rotation=pi, x_reflection=True))
bgr_simple.add(gdstk.Reference(r_poly_5, (167.5,-101), rotation=pi, x_reflection=True))
bgr_simple.add(gdstk.Reference(r_poly, (-8.5,-101)))
bgr_simple.add(gdstk.Reference(r_poly_5, (69.5,-189)))
bgr_simple.add(gdstk.Reference(r_poly_5, (-68.5,-189)))
bgr_simple.add(gdstk.Reference(r_poly_5, (-30.5,-189), rotation=pi, x_reflection=True))
bgr_simple.add(gdstk.Reference(r_poly_5, (-10.5,-189), rotation=pi, x_reflection=True))
bgr_simple.add(gdstk.Reference(r_poly_5, (-30.5,-18), rotation=pi))
bgr_simple.add(gdstk.Reference(r_poly_5, (-68.5,-18), x_reflection=True))
bgr_simple.add(gdstk.Reference(r_poly_5, (-70.5,-18), rotation=pi))
bgr_simple.add(gdstk.Reference(pchdiode, (57.5,-157.5), rotation=pi))
bgr_simple.add(gdstk.Reference(pchdiode, (57.5,-123), rotation=pi))
bgr_simple.add(gdstk.Reference(r_poly_5, (149.5,-189)))
bgr_simple.add(gdstk.Reference(hr_poly, (60.5,-41), rotation=pi))
bgr_simple.add(gdstk.Reference(r_poly_5, (-70.5,-189), rotation=pi, x_reflection=True))
bgr_simple.add(gdstk.Reference(r_poly_5, (-28.5,-18), x_reflection=True))
bgr_simple.add(gdstk.Reference(nch1x20, (21,-78)))
bgr_simple.add(gdstk.Reference(r_poly_1, (65.4,-14.9), rotation=pi))
bgr_simple.add(gdstk.Reference(r_poly_5, (127.5,-101), rotation=pi, x_reflection=True))
bgr_simple.add(gdstk.Reference(r_poly_5, (129.5,-101)))
bgr_simple.add(gdstk.Reference(r_poly_5, (107.5,-101), rotation=pi, x_reflection=True))
bgr_simple.add(gdstk.Reference(r_poly_5, (69.6,-101)))
bgr_simple.add(gdstk.Reference(via, (62,-193.5)))
bgr_simple.add(gdstk.Label('Vin', (-91.3,-7), layer=8, texttype=0))
bgr_simple.add(gdstk.Label('Gnd', (-89.5,-200.5), layer=8, texttype=0))
bgr_simple.add(gdstk.Label('Vout', (44.6,-5.1), layer=7, texttype=0))

lib.write_gds('bgr_simple.gds')
